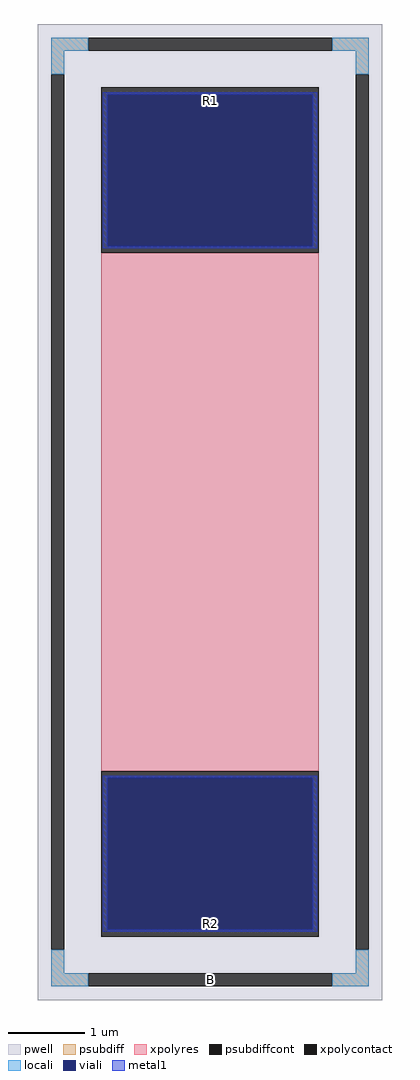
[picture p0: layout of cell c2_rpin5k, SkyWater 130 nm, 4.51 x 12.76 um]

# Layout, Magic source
magic
tech sky130A
magscale 1 2
<< pwell >>
rect -451 -1276 451 1276
<< psubdiff >>
rect -415 1206 -319 1240
rect 319 1206 415 1240
rect -415 1144 -381 1206
rect 381 1144 415 1206
rect -415 -1206 -381 -1144
rect 381 -1206 415 -1144
rect -415 -1240 -319 -1206
rect 319 -1240 415 -1206
<< psubdiffcont >>
rect -319 1206 319 1240
rect -415 -1144 -381 1144
rect 381 -1144 415 1144
rect -319 -1240 319 -1206
<< xpolycontact >>
rect -285 678 285 1110
rect -285 -1110 285 -678
<< xpolyres >>
rect -285 -678 285 678
<< locali >>
rect -415 1206 -319 1240
rect 319 1206 415 1240
rect -415 1144 -381 1206
rect 381 1144 415 1206
rect -415 -1206 -381 -1144
rect 381 -1206 415 -1144
rect -415 -1240 -319 -1206
rect 319 -1240 415 -1206
<< viali >>
rect -269 695 269 1092
rect -269 -1092 269 -695
<< metal1 >>
rect -281 1092 281 1098
rect -281 695 -269 1092
rect 269 695 281 1092
rect -281 689 281 695
rect -281 -695 281 -689
rect -281 -1092 -269 -695
rect 269 -1092 281 -695
rect -281 -1098 281 -1092
<< labels >>
rlabel psubdiffcont 0 -1223 0 -1223 0 B
port 1 nsew
rlabel xpolycontact 0 1075 0 1075 0 R1
port 2 nsew
rlabel xpolycontact 0 -1075 0 -1075 0 R2
port 3 nsew
<< properties >>
string FIXED_BBOX -398 -1223 398 1223
string gencell sky130_fd_pr__res_xhigh_po_2p85
string library sky130
string parameters w 2.85 l 6.94 m 1 nx 1 wmin 2.850 lmin 0.50 class resistor rho 2000 val 5.002k dummy 0 dw 0.0 term 188.2 sterm 0.0 caplen 0 wmax 2.850 guard 1 glc 1 grc 1 gtc 1 gbc 1 compatible {sky130_fd_pr__res_xhigh_po_0p35  sky130_fd_pr__res_xhigh_po_0p69 sky130_fd_pr__res_xhigh_po_1p41  sky130_fd_pr__res_xhigh_po_2p85 sky130_fd_pr__res_xhigh_po_5p73} snake 0 full_metal 1 n_guard 0 hv_guard 0 vias 1 viagb 0 viagt 0 viagl 0 viagr 0 doports 1
<< end >>
